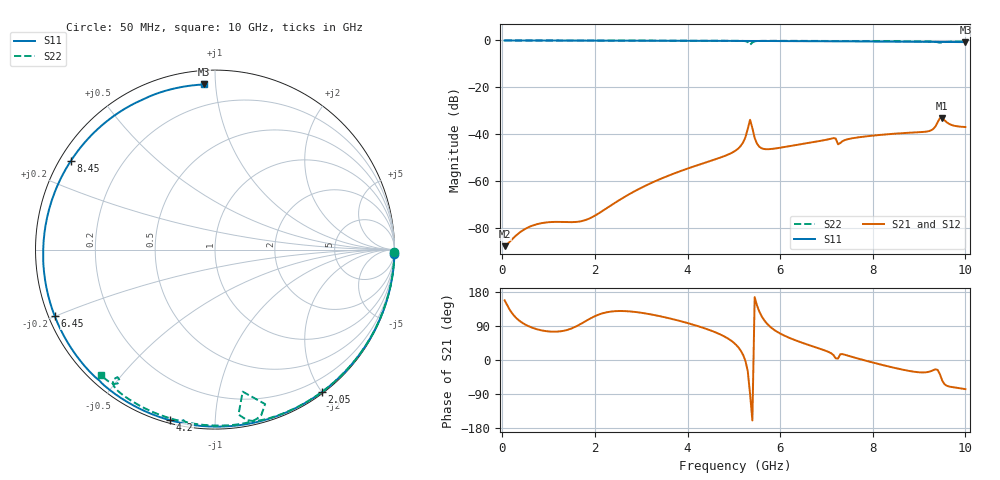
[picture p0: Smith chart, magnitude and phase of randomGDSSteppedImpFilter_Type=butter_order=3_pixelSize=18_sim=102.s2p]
! freq	dB(S11)	phase(S11)	dB(S12)	phase(S12)
!  dB(S21)	phase(S21)	dB(S22)	phase(S22)
!S-par simulation data
#  GHz  S  DB  R 50
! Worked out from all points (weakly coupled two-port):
!   200 points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, 50 MHz to 10 GHz, reference 50 ohm
!   highest |S21| = -33.04 dB at 9.5 GHz (marker M1); lowest = -87.8 dB at 50 MHz (marker M2)
!   lowest |S11| = -0.7 dB at 10 GHz (marker M3), VSWR 24.69, Z = 3.78 + j46.5 ohm
!   |S11| at or under -10 dB: nowhere
!   |S22| runs from -1.9 to 0.0 dB; largest |S21 - S12| = 0
!   S11 on the Smith chart (normalised r, x): 50 MHz: 0, -86; 2.05 GHz: 0.02, -2.00; 4.2 GHz: 0.01, -0.77; 6.45 GHz: 0.02, -0.20; 8.45 GHz: 0.03, +0.28; 10 GHz: 0.08, +0.93
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0.05  -0.00 -1.3  -87.76 157.5  -87.76 157.5  -0.00 -0.8
1.75  -0.06 -45.5  -76.89 99.1  -76.89 99.1  -0.03 -26.6
2.05  -0.07 -53.1  -74.16 118.4  -74.16 118.4  -0.04 -31.1
3.4  -0.11 -86.0  -59.21 115.7  -59.21 115.7  -0.07 -50.7
4.2  -0.15 -104.8  -53.31 90.3  -53.31 90.3  -0.09 -62.0
5.05  -0.19 -124.4  -46.82 39.8  -46.82 39.8  -0.13 -74.5
5.2  -0.20 -127.9  -43.52 13.5  -43.52 13.5  -0.20 -77.7
5.3  -0.21 -130.3  -37.76 -29.1  -37.76 -29.1  -0.65 -81.9
5.35  -0.24 -131.4  -33.85 -89.2  -33.85 -89.2  -1.87 -79.0
5.4  -0.23 -132.4  -37.38 -159.6  -37.38 -159.6  -0.87 -72.0
5.45  -0.22 -133.6  -41.62 165.8  -41.62 165.8  -0.38 -74.4
5.6  -0.23 -137.1  -45.99 115.6  -45.99 115.6  -0.18 -78.5
6.45  -0.29 -157.4  -44.23 46.6  -44.23 46.6  -0.17 -90.7
6.7  -0.31 -163.5  -43.41 36.1  -43.41 36.1  -0.19 -93.9
7.15  -0.36 -174.9  -41.67 13.3  -41.67 13.3  -0.23 -99.7
7.25  -0.37 -177.6  -44.32 3.9  -44.32 3.9  -0.30 -100.5
8.35  -0.50 151.5  -39.97 -17.4  -39.97 -17.4  -0.29 -114.0
8.45  -0.51 148.5  -39.81 -20.2  -39.81 -20.2  -0.30 -115.2
9.25  -0.62 122.0  -38.45 -29.7  -38.45 -29.7  -0.43 -125.6
9.5  -0.65 113.1  -33.04 -54.2  -33.04 -54.2  -0.90 -126.0
9.7  -0.67 105.6  -36.04 -71.2  -36.04 -71.2  -0.51 -128.3
10  -0.70 94.0  -36.94 -76.9  -36.94 -76.9  -0.49 -132.3
